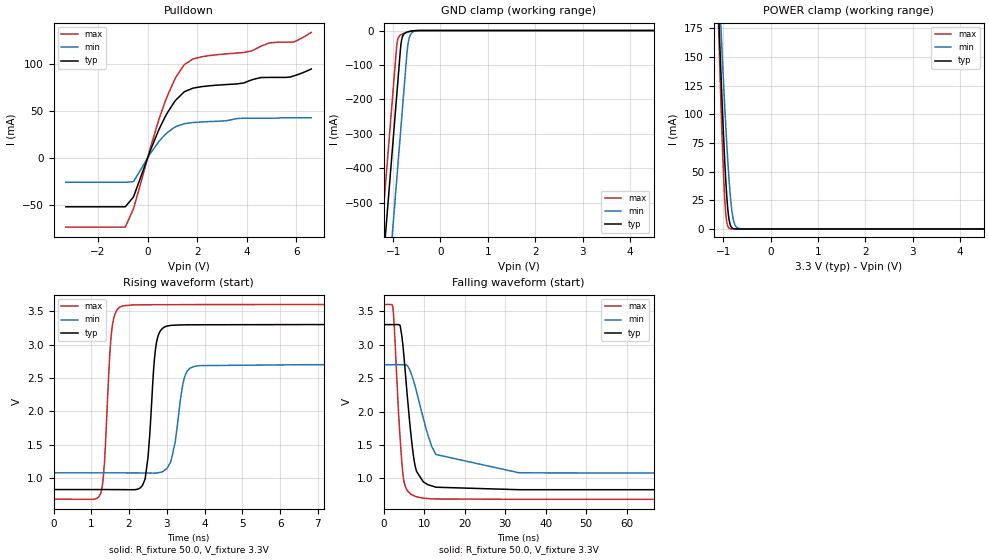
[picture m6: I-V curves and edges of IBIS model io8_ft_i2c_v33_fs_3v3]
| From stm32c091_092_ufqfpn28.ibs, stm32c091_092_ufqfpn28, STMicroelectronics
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[Model]   io8_ft_i2c_v33_fs_3v3
Model_type I/O_open_drain
Polarity   Non-Inverting
Enable   Active-Low
| CAP_THRESHOLD on pad IOFT is "UDTCAPC" :
| Rising=30.0% of vddiom   Falling=70.0% of vddiom
| C_comp min and max val. don't necessarily correlate with the min and max pvt
| but are the smallest and greatest pad capacitance found.
| var   typ   min   max
C_comp   2.42806pF  2.37063pF  2.44147pF
|C_comp_pulldown   2.42806pF  2.37063pF  2.44147pF
Vinl = 1.35V
Vinh = 1.8V
Vmeas = 1.65V   | Reference voltage for timing measurements
Cref  = 50.0pF   | Timing specification test load capacitance value
Rref  = 1.0MOhm   | Timing specification test load resistance value
Vref  = 1.815V   | Timing specification test load voltage
[Model Spec]
| TIME_THRESHOLD on pin ZII2CV12 is "CMOS" :
| Rising=50.0% of vdd   Falling=50.0% of vdd
Vinl 1.34770V 1.11370V 1.44970V
Vinh 1.77530V 1.49530V 1.90330V
| variable   typ   min   max
[Temperature Range] 25.0 125.0 -40.0
| variable   typ   min   max
[Voltage Range] 3.3V 2.7V 3.6V
| variable   typ   min   max
[POWER Clamp Reference] 3.3V 2.7V 3.6V
| variable   typ   min   max
[GND Clamp Reference] 0V 0V 0V
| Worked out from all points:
|   slope of the pulldown table from 0 to 0.495 V, typ, clamps not added: 15.4 ohm
|   GND clamp passes 1 mA (typ) near -0.58 V on its own axis
|   POWER clamp passes 1 mA (typ) near -0.81 V on its own axis
|   rising waveform, R_fixture 50.0, V_fixture 3.3V: 20-80 % time 173ps typ, 246ps min, 158ps max; typ from 0.831 V to 3.3 V
|   falling waveform, R_fixture 50.0, V_fixture 3.3V: 20-80 % time 2.35ns typ, 4.72ns min, 1.62ns max; typ from 3.3 V to 0.831 V
[POWER Clamp]
-3.3V     2.991A     2.543A     3.694A
-1.1V     191.1mA    222.7mA    177.1mA
-1.08V    169mA      204.2mA    149.9mA
-1.05V    136.9mA    176.9mA    110.9mA
-1.01V    96.55mA    141.6mA    64.02mA
-970mV    60.39mA    108.2mA    27.41mA
-930mV    31.08mA    77.43mA    7.282mA
-900mV    15.67mA    56.69mA    2.025mA
-860mV    4.779mA    33.42mA    315.2uA
-780mV    272.1uA    6.953mA    6.98uA
-670mV    4.467uA    374.2uA    36.58nA
6.6V      0A         0A         0A
[GND Clamp]
-3.3V     -4.227A    -4.472A    -4.082A
-1.25V    -742.2mA   -986.7mA   -597.4mA
-930mV    -198.2mA   -442.7mA   -53.39mA
-920mV    -181.2mA   -425.7mA   -39.67mA
-890mV    -130.2mA   -374.7mA   -20.93mA
-830mV    -35.33mA   -272.7mA   -12.06mA
-790mV    -14.13mA   -204.7mA   -9.442mA
-720mV    -5.312mA   -85.66mA   -5.702mA
-690mV    -3.888mA   -42.66mA   -4.338mA
-650mV    -2.529mA   -17.47mA   -2.784mA
-480mV    -113.2uA   -479.8uA   -69.15uA
6.6V      942.9pA    93.37nA    678.9pA
| variable   typ   min   max
[Pullup Reference] 3.3V 2.7V 3.6V
| variable   typ   min   max
[Pulldown Reference] 0V 0V 0V
[Pulldown]
-3.3V     -51.88mA   -25.81mA   -73.46mA
-900mV    -51.88mA   -25.81mA   -73.32mA
-570mV    -41.39mA   -25.18mA   -53.99mA
120mV     8.622mA    5.148mA    11.58mA
690mV     42.7mA     24.28mA    58.45mA
1.08V     59.39mA    32.34mA    82.54mA
1.48V     70.24mA    36.36mA    99.08mA
2.17V     75.62mA    38.17mA    107.3mA
3.88V     79.57mA    42.16mA    111.9mA
4.9V      85.45mA    42.16mA    121.9mA
5.88V     86.9mA     42.6mA     122.9mA
6.6V      94.4mA     42.6mA     133.3mA
[Ramp]
dV/dt_r 1.48133V/171.79011ps 971.09221mV/244.47737ps 1.74773V/155.48003ps
dV/dt_f 1.48135V/2.3525ns 971.12071mV/4.67184ns 1.74775V/1.61739ns
R_load = 50.0
| Removed startup time: 0s 0s 0s  .
| Removed end time: 29.875ns.
[Rising Waveform]
R_fixture   = 50.0
V_fixture   = 3.3V
V_fixture_min = 2.7V
V_fixture_max = 3.6V
0s        831.1mV    1.081V     687.1mV
1.25ns    831.1mV    1.081V     773.4mV
1.55ns    830.8mV    1.081V     3.251V
1.85ns    830.1mV    1.081V     3.581V
2.425ns   988.3mV    1.079V     3.596V
2.725ns   3.024V     1.078V     3.597V
3.1ns     3.287V     1.242V     3.597V
3.45ns    3.295V     2.472V     3.598V
3.85ns    3.297V     2.685V     3.599V
29.88ns   3.3V       2.7V       3.6V
| Removed startup time: 0s 0s 0s  .
| Removed end time: 299.875ns.
[Falling Waveform]
R_fixture   = 50.0
V_fixture   = 3.3V
V_fixture_min = 2.7V
V_fixture_max = 3.6V
0s        3.3V       2.7V       3.6V
2.25ns    3.3V       2.7V       3.571V
4.05ns    3.289V     2.7V       1.616V
5.025ns   2.815V     2.7V       953.2mV
6.4ns     1.857V     2.627V     782.8mV
7.55ns    1.26V      2.427V     739.7mV
9.775ns   949.4mV    1.903V     704.8mV
12.9ns    868.2mV    1.358V     692.3mV
33.33ns   831.2mV    1.085V     687.1mV
299.9ns   831.1mV    1.081V     687.1mV
